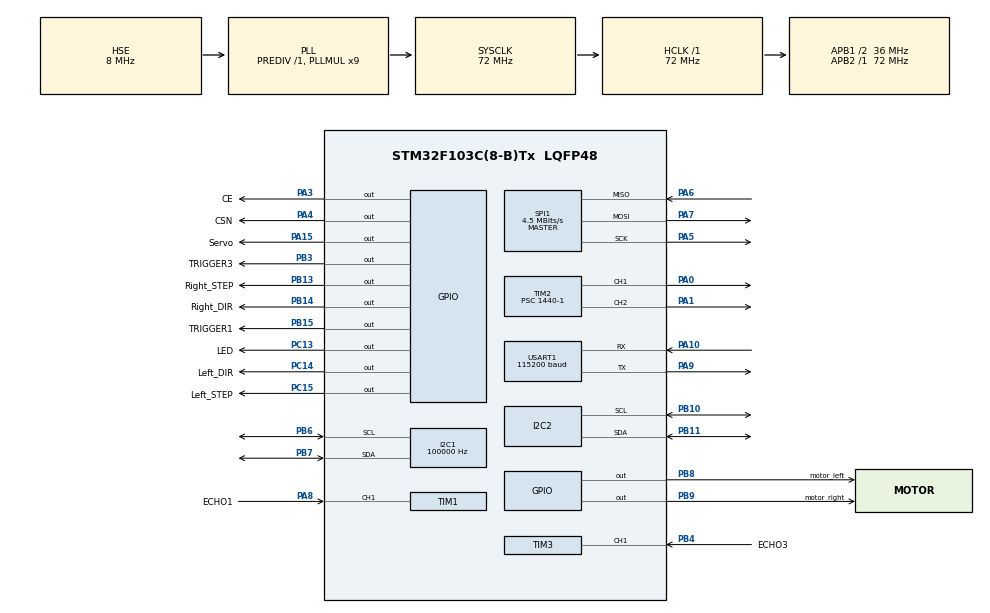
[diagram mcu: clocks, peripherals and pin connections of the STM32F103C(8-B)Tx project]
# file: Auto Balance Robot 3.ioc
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I2C1.ClockSpeed=100000
I2C1.DutyCycle=I2C_DUTYCYCLE_16_9
I2C1.I2C_Mode=I2C_Fast
I2C1.OwnAddress=0
Mcu.Family=STM32F1
Mcu.Name=STM32F103C(8-B)Tx
Mcu.Package=LQFP48
NVIC.I2C1_ER_IRQn=true\:0\:0\:false\:false\:true
NVIC.I2C1_EV_IRQn=true\:0\:0\:false\:false\:true
NVIC.PriorityGroup=NVIC_PRIORITYGROUP_4
NVIC.TIM1_CC_IRQn=true\:0\:0\:false\:false\:true
NVIC.TIM2_IRQn=true\:0\:0\:false\:false\:true
NVIC.TIM3_IRQn=true\:0\:0\:false\:false\:true
NVIC.TIM4_IRQn=true\:0\:0\:false\:false\:true
NVIC.USART1_IRQn=true\:0\:0\:false\:false\:true
PA0-WKUP.Signal=S_TIM2_CH1_ETR
PA1.Signal=S_TIM2_CH2
PA10.Mode=Asynchronous
PA10.Signal=USART1_RX
PA13.Mode=Serial_Wire
PA13.Signal=SYS_JTMS-SWDIO
PA14.Mode=Serial_Wire
PA14.Signal=SYS_JTCK-SWCLK
PA15.GPIO_Label=Servo
PA15.Signal=GPIO_Output
PA3.GPIO_Label=CE
PA3.Signal=GPIO_Output
PA4.GPIO_Label=CSN
PA4.Signal=GPIO_Output
PA5.Mode=Full_Duplex_Master
PA5.Signal=SPI1_SCK
PA6.Mode=Full_Duplex_Master
PA6.Signal=SPI1_MISO
PA7.Mode=Full_Duplex_Master
PA7.Signal=SPI1_MOSI
PA8.GPIO_Label=ECHO1
PA8.GPIO_PuPd=GPIO_PULLDOWN
PA8.Signal=S_TIM1_CH1
PA9.Mode=Asynchronous
PA9.Signal=USART1_TX
PB10.Mode=I2C
PB10.Signal=I2C2_SCL
PB11.Mode=I2C
PB11.Signal=I2C2_SDA
PB13.GPIO_Label=Right_STEP
PB13.Signal=GPIO_Output
PB14.GPIO_Label=Right_DIR
PB14.Signal=GPIO_Output
PB15.GPIO_Label=TRIGGER1
PB15.Signal=GPIO_Output
PB3.GPIO_Label=TRIGGER3
PB3.Signal=GPIO_Output
PB4.GPIO_Label=ECHO3
PB4.GPIO_PuPd=GPIO_PULLDOWN
PB4.Signal=S_TIM3_CH1
PB6.Mode=I2C
PB6.Signal=I2C1_SCL
PB7.Mode=I2C
PB7.Signal=I2C1_SDA
PB8.GPIO_Label=motor_left
PB8.Signal=GPIO_Output
PB9.GPIO_Label=motor_right
PB9.Signal=GPIO_Output
PC13-TAMPER-RTC.GPIO_Label=LED
PC13-TAMPER-RTC.Signal=GPIO_Output
PC14-OSC32_IN.GPIO_Label=Left_DIR
PC14-OSC32_IN.Signal=GPIO_Output
PC15-OSC32_OUT.GPIO_Label=Left_STEP
PC15-OSC32_OUT.Signal=GPIO_Output
PD0-OSC_IN.Mode=HSE-External-Oscillator
PD0-OSC_IN.Signal=RCC_OSC_IN
PD1-OSC_OUT.Mode=HSE-External-Oscillator
PD1-OSC_OUT.Signal=RCC_OSC_OUT
ProjectManager.HeapSize=0x200
ProjectManager.StackSize=0x400
ProjectManager.TargetToolchain=MDK-ARM V5
RCC.ADCPresc=RCC_ADCPCLK2_DIV6
RCC.AHBFreq_Value=72000000
RCC.APB1CLKDivider=RCC_HCLK_DIV2
RCC.APB1Freq_Value=36000000
RCC.APB1TimFreq_Value=72000000
RCC.APB2Freq_Value=72000000
RCC.APB2TimFreq_Value=72000000
RCC.HCLKFreq_Value=72000000
RCC.PLLMUL=RCC_PLL_MUL9
RCC.PLLSourceVirtual=RCC_PLLSOURCE_HSE
RCC.SYSCLKFreq_VALUE=72000000
RCC.SYSCLKSource=RCC_SYSCLKSOURCE_PLLCLK
RCC.USBFreq_Value=72000000
SH.S_TIM1_CH1.0=TIM1_CH1,Input_Capture1_from_TI1
SH.S_TIM2_CH1_ETR.0=TIM2_CH1,PWM Generation1 CH1
SH.S_TIM2_CH2.0=TIM2_CH2,PWM Generation2 CH2
SH.S_TIM3_CH1.0=TIM3_CH1,Input_Capture1_from_TI1
SPI1.BaudRatePrescaler=SPI_BAUDRATEPRESCALER_16
SPI1.CalculateBaudRate=4.5 MBits/s
SPI1.Direction=SPI_DIRECTION_2LINES
SPI1.Mode=SPI_MODE_MASTER
SPI1.VirtualType=VM_MASTER
TIM1.Channel-Input_Capture1_from_TI1=TIM_CHANNEL_1
TIM1.Period=65530
TIM1.Prescaler=72-1
TIM2.Channel-PWM\ Generation1\ CH1=TIM_CHANNEL_1
TIM2.Channel-PWM\ Generation2\ CH2=TIM_CHANNEL_2
TIM2.Period=1000-1
TIM2.Prescaler=1440-1
TIM3.AutoReloadPreload=TIM_AUTORELOAD_PRELOAD_DISABLE
TIM3.Channel-Input_Capture1_from_TI1=TIM_CHANNEL_1
TIM3.Period=65530
TIM3.Prescaler=72-1
TIM4.Period=720
TIM4.Prescaler=1
USART1.BaudRate=115200
USART1.VirtualMode=VM_ASYNC
VP_TIM1_VS_ClockSourceINT.Mode=Internal
VP_TIM2_VS_ClockSourceINT.Mode=Internal
VP_TIM3_VS_ClockSourceINT.Mode=Internal
VP_TIM4_VS_ClockSourceINT.Mode=Internal
board=Auto Balance Robot 3

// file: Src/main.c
/**
  ******************************************************************************
  * File Name          : main.c
  * Description        : Main program body
  ******************************************************************************
  ** This notice applies to any and all portions of this file
  * that are not between comment pairs USER CODE BEGIN and
  * USER CODE END. Other portions of this file, whether
  * inserted by the user or by software development tools
  * are owned by their respective copyright owners.
  *
  * COPYRIGHT(c) 2019 STMicroelectronics
  *
  * Redistribution and use in source and binary forms, with or without modification,
  * are permitted provided that the following conditions are met:
  *   1. Redistributions of source code must retain the above copyright notice,
  *      this list of conditions and the following disclaimer.
  *   2. Redistributions in binary form must reproduce the above copyright notice,
  *      this list of conditions and the following disclaimer in the documentation
  *      and/or other materials provided with the distribution.
  *   3. Neither the name of STMicroelectronics nor the names of its contributors
  *      may be used to endorse or promote products derived from this software
  *      without specific prior written permission.
  *
  * THIS SOFTWARE IS PROVIDED BY THE COPYRIGHT HOLDERS AND CONTRIBUTORS "AS IS"
  * AND ANY EXPRESS OR IMPLIED WARRANTIES, INCLUDING, BUT NOT LIMITED TO, THE
  * IMPLIED WARRANTIES OF MERCHANTABILITY AND FITNESS FOR A PARTICULAR PURPOSE ARE
  * DISCLAIMED. IN NO EVENT SHALL THE COPYRIGHT HOLDER OR CONTRIBUTORS BE LIABLE
  * FOR ANY DIRECT, INDIRECT, INCIDENTAL, SPECIAL, EXEMPLARY, OR CONSEQUENTIAL
  * DAMAGES (INCLUDING, BUT NOT LIMITED TO, PROCUREMENT OF SUBSTITUTE GOODS OR
  * SERVICES; LOSS OF USE, DATA, OR PROFITS; OR BUSINESS INTERRUPTION) HOWEVER
  * CAUSED AND ON ANY THEORY OF LIABILITY, WHETHER IN CONTRACT, STRICT LIABILITY,
  * OR TORT (INCLUDING NEGLIGENCE OR OTHERWISE) ARISING IN ANY WAY OUT OF THE USE
  * OF THIS SOFTWARE, EVEN IF ADVISED OF THE POSSIBILITY OF SUCH DAMAGE.
  *
  ******************************************************************************
  */
#include "main.h"
#include "stm32f1xx_hal.h"

/* USER CODE BEGIN Includes */
#include "math.h"
#include <stdbool.h>
#include "NRF24L01.h"
#include "MPU6050.h"
#include "HCSR04.h"
#include "PID_Motor_Control.h"
#include "Robot_Motion_Control.h"
/* USER CODE END Includes */

I2C_HandleTypeDef hi2c1;
I2C_HandleTypeDef hi2c2;

SPI_HandleTypeDef hspi1;

TIM_HandleTypeDef htim1;
TIM_HandleTypeDef htim2;
TIM_HandleTypeDef htim3;
TIM_HandleTypeDef htim4;

UART_HandleTypeDef huart1;

/* USER CODE BEGIN PV */
/* Private variables ---------------------------------------------------------*/
uint8_t received_byte, received_com_byte, low_bat, activation, UART_rx;
uint8_t balancing=false,standing=false,sleeping=false;

uint32_t micros = 0, loop_timer = 0, rising_tick_1, rising_tick_3, echo1_pulse_width, echo3_pulse_width;
volatile uint32_t millis = 0;

int16_t throttle_left_motor, throttle_counter_left_motor, throttle_left_motor_memory;
int16_t throttle_right_motor, throttle_counter_right_motor, throttle_right_motor_memory;
int16_t battery_voltage, receive_counter;

float pid_i_mem, pid_output, self_balance_pid_setpoint, adcValue, angle_gyro;
float sleep=0;
char webpage[100];
/* USER CODE END PV */

void SystemClock_Config(void);
static void MX_GPIO_Init(void);
static void MX_USART1_UART_Init(void);
static void MX_I2C1_Init(void);
static void MX_TIM3_Init(void);
static void MX_I2C2_Init(void);
static void MX_SPI1_Init(void);
static void MX_TIM2_Init(void);
static void MX_TIM1_Init(void);
static void MX_TIM4_Init(void);

void HAL_TIM_MspPostInit(TIM_HandleTypeDef *htim);

/* USER CODE BEGIN PFP */
/* Private function prototypes -----------------------------------------------*/
uint32_t micro(void);

/* USER CODE END PFP */

/* USER CODE BEGIN 0 */
void HAL_UART_RxCpltCallback(UART_HandleTypeDef *huart)
{
		if(huart->Instance == USART1)
		{
				if(UART_rx == 0x06)
				{
					HAL_UART_Transmit(&huart1,webpage,strlen(webpage),400);
				}
				if(standing == false && sleeping == false)
			  {
					if(UART_rx == 0x01 || UART_rx == 0x02 || UART_rx == 0x04 || UART_rx == 0x08 || UART_rx == 0x05)
					{
						received_com_byte = UART_rx;
					}
				}

				UART_rx = 0;
				HAL_UART_Receive_IT(&huart1, &UART_rx, 1);
		}
}

void HAL_TIM_PeriodElapsedCallback(TIM_HandleTypeDef *htim)
{
	 if (htim ->Instance == TIM4)
	 {
			HAL_GPIO_TogglePin(GPIOC, LED_Pin);
			//Left motor pulse calculations
			throttle_counter_left_motor ++;                                           //Increase the throttle_counter_left_motor variable by 1 every time this routine is executed
			if(throttle_counter_left_motor > throttle_left_motor_memory){             //If the number of loops is larger then the throttle_left_motor_memory variable
				throttle_counter_left_motor = 0;                                        //Reset the throttle_counter_left_motor variable
				throttle_left_motor_memory = throttle_left_motor;
				//Load the next throttle_left_motor variable
				if(throttle_left_motor_memory < 0){                                     //If the throttle_left_motor_memory is negative
					HAL_GPIO_WritePin(GPIOC, Left_DIR_Pin, GPIO_PIN_RESET);               //Set output 3 low to reverse the direction of the stepper controller
					throttle_left_motor_memory *= -1;                                     //Invert the throttle_left_motor_memory variable
				}
				else HAL_GPIO_WritePin(GPIOC, Left_DIR_Pin, GPIO_PIN_SET);              //Set output 3 high for a forward direction of the stepper motor
			}
			else if(throttle_counter_left_motor == 1)HAL_GPIO_WritePin(GPIOC, Left_STEP_Pin, GPIO_PIN_SET);             //Set output 2 high to create a pulse for the stepper controller
			else if(throttle_counter_left_motor == 2)HAL_GPIO_WritePin(GPIOC, Left_STEP_Pin, GPIO_PIN_RESET);           //Set output 2 low because the pulse only has to last for 20us

			//right motor pulse calculations
			throttle_counter_right_motor ++;                                          //Increase the throttle_counter_right_motor variable by 1 every time the routine is executed
			if(throttle_counter_right_motor > throttle_right_motor_memory){           //If the number of loops is larger then the throttle_right_motor_memory variable
				throttle_counter_right_motor = 0;                                       //Reset the throttle_counter_right_motor variable
				throttle_right_motor_memory = throttle_right_motor;                     //Load the next throttle_right_motor variable

				if(throttle_right_motor_memory < 0){                                    //If the throttle_right_motor_memory is negative
					HAL_GPIO_WritePin(GPIOB, Right_DIR_Pin, GPIO_PIN_RESET);              //Set output 5 low to reverse the direction of the stepper controller
					throttle_right_motor_memory *= -1;                                    //Invert the throttle_right_motor_memory variable
				}
				else HAL_GPIO_WritePin(GPIOB, Right_DIR_Pin, GPIO_PIN_SET);           	//Set output 5 high for a forward direction of the stepper motor
			}
			else if(throttle_counter_right_motor == 1)HAL_GPIO_WritePin(GPIOB, Right_STEP_Pin, GPIO_PIN_SET);            //Set output 4 high to create a pulse for the stepper controller
			else if(throttle_counter_right_motor == 2)HAL_GPIO_WritePin(GPIOB, Right_STEP_Pin, GPIO_PIN_RESET);          //Set output 4 low because the pulse only has to last for 20us
	 }
}
/* USER CODE END 0 */

int main(void)
{

  /* MCU Configuration----------------------------------------------------------*/

  /* Reset of all peripherals, Initializes the Flash interface and the Systick. */
  HAL_Init();

  /* Configure the system clock */
  SystemClock_Config();

  /* Initialize all configured peripherals */
  MX_GPIO_Init();
  MX_USART1_UART_Init();
  MX_I2C1_Init();
  MX_TIM3_Init();
  MX_I2C2_Init();
  MX_SPI1_Init();
  MX_TIM2_Init();
  MX_TIM1_Init();
  MX_TIM4_Init();

  /* USER CODE BEGIN 2 */

	HAL_TIM_IC_Start_IT(&htim1,TIM_CHANNEL_1); // Start timer 1 (Input capture for ultrasonic sensor)
	HAL_TIM_PWM_Start(&htim2,TIM_CHANNEL_1);	 // Start timer 2 (PWM for servo motor 1)
	HAL_TIM_PWM_Start(&htim2,TIM_CHANNEL_2);	 // Start timer 2 (PWM for servo motor 2)
	HAL_TIM_IC_Start_IT(&htim3,TIM_CHANNEL_1); // Start timer 3 (Input capture for ultrasonic sensor)
	HAL_TIM_Base_Start_IT(&htim4);						 // Start timer 4 (Control stepper motors every 20us)
	HAL_UART_Receive_IT(&huart1, &UART_rx, 1); // Start UART (Communicate with ESP8266)

	htim2.Instance->CCR1 = 25;								 // Turn servo motor 1 to default position
	htim2.Instance->CCR2 = 25;								 // Turn servo motor 2 to default position
	HAL_Delay(200);														 // Wait some time for servo motor to return to default position
	htim2.Instance->CCR1 = 0;									 // Stop holding servo motor 1
	htim2.Instance->CCR2 = 0;									 // Stop holding servo motor 2

	NRF24_init();															 // Setup NRF24L01 configuration register

	MPU6050_config();													 // Setup MPU6050 configuration registers
	MPU6050_pitch_calibration();							 // Calirate MPU6050 pitch axis
	MPU6050_detect_initial_angle();						 // Detect initial angle of MPU6050

	millis = 0;
	loop_timer = micro();											 // Start loop time. Loop time = 4ms

  /* USER CODE END 2 */

  /* Infinite loop */
  while(1)
  {

  /* USER CODE BEGIN 3 */
			// Copy robot status (balancing, standing, sleeping) into webpage char array in order to send to ESP8266
			sprintf(webpage, "{ \"balancing\" : %d, \"standing\" : %d, \"sleeping\" : %d }\n", balancing, standing, sleeping);

			// Check received byte from remote control and computer to determine whether robot should be raised up or lowered down
			Raise_Or_Lower_Down_Robot();

			// Calculate angle of MPU6050
			MPU6050_calculate_angle_gyro();

			// Raises up or lowers down the robot according to received byte
			Change_Robot_Position();

			// If robot enters vertical (upright) position, enable balancing mode
			Check_If_Robot_Enters_Vertical_Position();

			// Rotate servo arm to vertical position once robot enters vertical position
			Rotate_Servo_Arm_To_Vertical_Position();

			// If robot tips over, deactivate balancing mode and reset parameters
			Check_If_Robot_Tips_Over();

			// If balancing mode is activated, activate PID controller calculations, control movement of robot, calculate pulses to control stepper motor
			Check_If_Balancing_Mode_Activated();

			received_com_byte = 0;							 // Reset received byte from computer every loop

			while((micro()- loop_timer) < 4000); // Make sure the loop is in 250Hz or 4ms.
			millis = 0; 												 // Reset millis
			loop_timer = micro();								 // Restart loop timer
		}

  /* USER CODE END 3 */

}

/** System Clock Configuration
*/
void SystemClock_Config(void)
{

  RCC_OscInitTypeDef RCC_OscInitStruct;
  RCC_ClkInitTypeDef RCC_ClkInitStruct;

    /**Initializes the CPU, AHB and APB busses clocks
    */
  RCC_OscInitStruct.OscillatorType = RCC_OSCILLATORTYPE_HSE;
  RCC_OscInitStruct.HSEState = RCC_HSE_ON;
  RCC_OscInitStruct.HSEPredivValue = RCC_HSE_PREDIV_DIV1;
  RCC_OscInitStruct.HSIState = RCC_HSI_ON;
  RCC_OscInitStruct.PLL.PLLState = RCC_PLL_ON;
  RCC_OscInitStruct.PLL.PLLSource = RCC_PLLSOURCE_HSE;
  RCC_OscInitStruct.PLL.PLLMUL = RCC_PLL_MUL9;
  if (HAL_RCC_OscConfig(&RCC_OscInitStruct) != HAL_OK)
  {
    _Error_Handler(__FILE__, __LINE__);
  }

    /**Initializes the CPU, AHB and APB busses clocks
    */
  RCC_ClkInitStruct.ClockType = RCC_CLOCKTYPE_HCLK|RCC_CLOCKTYPE_SYSCLK
                              |RCC_CLOCKTYPE_PCLK1|RCC_CLOCKTYPE_PCLK2;
  RCC_ClkInitStruct.SYSCLKSource = RCC_SYSCLKSOURCE_PLLCLK;
  RCC_ClkInitStruct.AHBCLKDivider = RCC_SYSCLK_DIV1;
  RCC_ClkInitStruct.APB1CLKDivider = RCC_HCLK_DIV2;
  RCC_ClkInitStruct.APB2CLKDivider = RCC_HCLK_DIV1;

  if (HAL_RCC_ClockConfig(&RCC_ClkInitStruct, FLASH_LATENCY_2) != HAL_OK)
  {
    _Error_Handler(__FILE__, __LINE__);
  }

    /**Configure the Systick interrupt time
    */
  HAL_SYSTICK_Config(HAL_RCC_GetHCLKFreq()/1000);

    /**Configure the Systick
    */
  HAL_SYSTICK_CLKSourceConfig(SYSTICK_CLKSOURCE_HCLK);

  /* SysTick_IRQn interrupt configuration */
  HAL_NVIC_SetPriority(SysTick_IRQn, 0, 0);
}

/* I2C1 init function */
static void MX_I2C1_Init(void)
{

  hi2c1.Instance = I2C1;
  hi2c1.Init.ClockSpeed = 100000;
  hi2c1.Init.DutyCycle = I2C_DUTYCYCLE_16_9;
  hi2c1.Init.OwnAddress1 = 0;
  hi2c1.Init.AddressingMode = I2C_ADDRESSINGMODE_7BIT;
  hi2c1.Init.DualAddressMode = I2C_DUALADDRESS_DISABLE;
  hi2c1.Init.OwnAddress2 = 0;
  hi2c1.Init.GeneralCallMode = I2C_GENERALCALL_DISABLE;
  hi2c1.Init.NoStretchMode = I2C_NOSTRETCH_DISABLE;
  if (HAL_I2C_Init(&hi2c1) != HAL_OK)
  {
    _Error_Handler(__FILE__, __LINE__);
  }

}

/* I2C2 init function */
static void MX_I2C2_Init(void)
{

  hi2c2.Instance = I2C2;
  hi2c2.Init.ClockSpeed = 100000;
  hi2c2.Init.DutyCycle = I2C_DUTYCYCLE_2;
  hi2c2.Init.OwnAddress1 = 0;
  hi2c2.Init.AddressingMode = I2C_ADDRESSINGMODE_7BIT;
  hi2c2.Init.DualAddressMode = I2C_DUALADDRESS_DISABLE;
  hi2c2.Init.OwnAddress2 = 0;
  hi2c2.Init.GeneralCallMode = I2C_GENERALCALL_DISABLE;
  hi2c2.Init.NoStretchMode = I2C_NOSTRETCH_DISABLE;
  if (HAL_I2C_Init(&hi2c2) != HAL_OK)
  {
    _Error_Handler(__FILE__, __LINE__);
  }

}

/* SPI1 init function */
static void MX_SPI1_Init(void)
{

  hspi1.Instance = SPI1;
  hspi1.Init.Mode = SPI_MODE_MASTER;
  hspi1.Init.Direction = SPI_DIRECTION_2LINES;
  hspi1.Init.DataSize = SPI_DATASIZE_8BIT;
  hspi1.Init.CLKPolarity = SPI_POLARITY_LOW;
  hspi1.Init.CLKPhase = SPI_PHASE_1EDGE;
  hspi1.Init.NSS = SPI_NSS_SOFT;
  hspi1.Init.BaudRatePrescaler = SPI_BAUDRATEPRESCALER_16;
  hspi1.Init.FirstBit = SPI_FIRSTBIT_MSB;
  hspi1.Init.TIMode = SPI_TIMODE_DISABLE;
  hspi1.Init.CRCCalculation = SPI_CRCCALCULATION_DISABLE;
  hspi1.Init.CRCPolynomial = 10;
  if (HAL_SPI_Init(&hspi1) != HAL_OK)
  {
    _Error_Handler(__FILE__, __LINE__);
  }

}

/* TIM1 init function */
static void MX_TIM1_Init(void)
{

  TIM_ClockConfigTypeDef sClockSourceConfig;
  TIM_MasterConfigTypeDef sMasterConfig;
  TIM_IC_InitTypeDef sConfigIC;

  htim1.Instance = TIM1;
  htim1.Init.Prescaler = 72-1;
  htim1.Init.CounterMode = TIM_COUNTERMODE_UP;
  htim1.Init.Period = 65530;
  htim1.Init.ClockDivision = TIM_CLOCKDIVISION_DIV1;
  htim1.Init.RepetitionCounter = 0;
  htim1.Init.AutoReloadPreload = TIM_AUTORELOAD_PRELOAD_DISABLE;
  if (HAL_TIM_Base_Init(&htim1) != HAL_OK)
  {
    _Error_Handler(__FILE__, __LINE__);
  }

  sClockSourceConfig.ClockSource = TIM_CLOCKSOURCE_INTERNAL;
  if (HAL_TIM_ConfigClockSource(&htim1, &sClockSourceConfig) != HAL_OK)
  {
    _Error_Handler(__FILE__, __LINE__);
  }

  if (HAL_TIM_IC_Init(&htim1) != HAL_OK)
  {
    _Error_Handler(__FILE__, __LINE__);
  }

  sMasterConfig.MasterOutputTrigger = TIM_TRGO_RESET;
  sMasterConfig.MasterSlaveMode = TIM_MASTERSLAVEMODE_DISABLE;
  if (HAL_TIMEx_MasterConfigSynchronization(&htim1, &sMasterConfig) != HAL_OK)
  {
    _Error_Handler(__FILE__, __LINE__);
  }

  sConfigIC.ICPolarity = TIM_INPUTCHANNELPOLARITY_RISING;
  sConfigIC.ICSelection = TIM_ICSELECTION_DIRECTTI;
  sConfigIC.ICPrescaler = TIM_ICPSC_DIV1;
  sConfigIC.ICFilter = 0;
  if (HAL_TIM_IC_ConfigChannel(&htim1, &sConfigIC, TIM_CHANNEL_1) != HAL_OK)
  {
    _Error_Handler(__FILE__, __LINE__);
  }

}

/* TIM2 init function */
static void MX_TIM2_Init(void)
{

  TIM_ClockConfigTypeDef sClockSourceConfig;
  TIM_MasterConfigTypeDef sMasterConfig;
  TIM_OC_InitTypeDef sConfigOC;

  htim2.Instance = TIM2;
  htim2.Init.Prescaler = 1440-1;
  htim2.Init.CounterMode = TIM_COUNTERMODE_UP;
  htim2.Init.Period = 1000-1;
  htim2.Init.ClockDivision = TIM_CLOCKDIVISION_DIV1;
  htim2.Init.AutoReloadPreload = TIM_AUTORELOAD_PRELOAD_DISABLE;
  if (HAL_TIM_Base_Init(&htim2) != HAL_OK)
  {
    _Error_Handler(__FILE__, __LINE__);
  }

  sClockSourceConfig.ClockSource = TIM_CLOCKSOURCE_INTERNAL;
  if (HAL_TIM_ConfigClockSource(&htim2, &sClockSourceConfig) != HAL_OK)
  {
    _Error_Handler(__FILE__, __LINE__);
  }

  if (HAL_TIM_PWM_Init(&htim2) != HAL_OK)
  {
    _Error_Handler(__FILE__, __LINE__);
  }

  sMasterConfig.MasterOutputTrigger = TIM_TRGO_RESET;
  sMasterConfig.MasterSlaveMode = TIM_MASTERSLAVEMODE_DISABLE;
  if (HAL_TIMEx_MasterConfigSynchronization(&htim2, &sMasterConfig) != HAL_OK)
  {
    _Error_Handler(__FILE__, __LINE__);
  }

  sConfigOC.OCMode = TIM_OCMODE_PWM1;
  sConfigOC.Pulse = 0;
  sConfigOC.OCPolarity = TIM_OCPOLARITY_HIGH;
  sConfigOC.OCFastMode = TIM_OCFAST_DISABLE;
  if (HAL_TIM_PWM_ConfigChannel(&htim2, &sConfigOC, TIM_CHANNEL_1) != HAL_OK)
  {
    _Error_Handler(__FILE__, __LINE__);
  }

  if (HAL_TIM_PWM_ConfigChannel(&htim2, &sConfigOC, TIM_CHANNEL_2) != HAL_OK)
  {
    _Error_Handler(__FILE__, __LINE__);
  }

  HAL_TIM_MspPostInit(&htim2);

}

/* TIM3 init function */
static void MX_TIM3_Init(void)
{

  TIM_ClockConfigTypeDef sClockSourceConfig;
  TIM_MasterConfigTypeDef sMasterConfig;
  TIM_IC_InitTypeDef sConfigIC;

  htim3.Instance = TIM3;
  htim3.Init.Prescaler = 72-1;
  htim3.Init.CounterMode = TIM_COUNTERMODE_UP;
  htim3.Init.Period = 65530;
  htim3.Init.ClockDivision = TIM_CLOCKDIVISION_DIV1;
  htim3.Init.AutoReloadPreload = TIM_AUTORELOAD_PRELOAD_DISABLE;
  if (HAL_TIM_Base_Init(&htim3) != HAL_OK)
  {
    _Error_Handler(__FILE__, __LINE__);
  }

  sClockSourceConfig.ClockSource = TIM_CLOCKSOURCE_INTERNAL;
  if (HAL_TIM_ConfigClockSource(&htim3, &sClockSourceConfig) != HAL_OK)
  {
    _Error_Handler(__FILE__, __LINE__);
  }

  if (HAL_TIM_IC_Init(&htim3) != HAL_OK)
  {
    _Error_Handler(__FILE__, __LINE__);
  }

  sMasterConfig.MasterOutputTrigger = TIM_TRGO_RESET;
  sMasterConfig.MasterSlaveMode = TIM_MASTERSLAVEMODE_DISABLE;
  if (HAL_TIMEx_MasterConfigSynchronization(&htim3, &sMasterConfig) != HAL_OK)
  {
    _Error_Handler(__FILE__, __LINE__);
  }

  sConfigIC.ICPolarity = TIM_INPUTCHANNELPOLARITY_RISING;
  sConfigIC.ICSelection = TIM_ICSELECTION_DIRECTTI;
  sConfigIC.ICPrescaler = TIM_ICPSC_DIV1;
  sConfigIC.ICFilter = 0;
  if (HAL_TIM_IC_ConfigChannel(&htim3, &sConfigIC, TIM_CHANNEL_1) != HAL_OK)
  {
    _Error_Handler(__FILE__, __LINE__);
  }

}

/* TIM4 init function */
static void MX_TIM4_Init(void)
{

  TIM_ClockConfigTypeDef sClockSourceConfig;
  TIM_MasterConfigTypeDef sMasterConfig;

  htim4.Instance = TIM4;
  htim4.Init.Prescaler = 1;
  htim4.Init.CounterMode = TIM_COUNTERMODE_UP;
  htim4.Init.Period = 720;
  htim4.Init.ClockDivision = TIM_CLOCKDIVISION_DIV1;
  htim4.Init.AutoReloadPreload = TIM_AUTORELOAD_PRELOAD_DISABLE;
  if (HAL_TIM_Base_Init(&htim4) != HAL_OK)
  {
    _Error_Handler(__FILE__, __LINE__);
  }

  sClockSourceConfig.ClockSource = TIM_CLOCKSOURCE_INTERNAL;
  if (HAL_TIM_ConfigClockSource(&htim4, &sClockSourceConfig) != HAL_OK)
  {
    _Error_Handler(__FILE__, __LINE__);
  }

  sMasterConfig.MasterOutputTrigger = TIM_TRGO_RESET;
  sMasterConfig.MasterSlaveMode = TIM_MASTERSLAVEMODE_DISABLE;
  if (HAL_TIMEx_MasterConfigSynchronization(&htim4, &sMasterConfig) != HAL_OK)
  {
    _Error_Handler(__FILE__, __LINE__);
  }

}

/* USART1 init function */
static void MX_USART1_UART_Init(void)
{

  huart1.Instance = USART1;
  huart1.Init.BaudRate = 115200;
  huart1.Init.WordLength = UART_WORDLENGTH_8B;
  huart1.Init.StopBits = UART_STOPBITS_1;
  huart1.Init.Parity = UART_PARITY_NONE;
  huart1.Init.Mode = UART_MODE_TX_RX;
  huart1.Init.HwFlowCtl = UART_HWCONTROL_NONE;
  huart1.Init.OverSampling = UART_OVERSAMPLING_16;
  if (HAL_UART_Init(&huart1) != HAL_OK)
  {
    _Error_Handler(__FILE__, __LINE__);
  }

}

/** Configure pins as
        * Analog
        * Input
        * Output
        * EVENT_OUT
        * EXTI
*/
static void MX_GPIO_Init(void)
{

  GPIO_InitTypeDef GPIO_InitStruct;

  /* GPIO Ports Clock Enable */
  __HAL_RCC_GPIOC_CLK_ENABLE();
  __HAL_RCC_GPIOD_CLK_ENABLE();
  __HAL_RCC_GPIOA_CLK_ENABLE();
  __HAL_RCC_GPIOB_CLK_ENABLE();

  /*Configure GPIO pin Output Level */
  HAL_GPIO_WritePin(GPIOC, LED_Pin|Left_DIR_Pin|Left_STEP_Pin, GPIO_PIN_RESET);

  /*Configure GPIO pin Output Level */
  HAL_GPIO_WritePin(GPIOA, CE_Pin|CSN_Pin|Servo_Pin, GPIO_PIN_RESET);

  /*Configure GPIO pin Output Level */
  HAL_GPIO_WritePin(GPIOB, Right_STEP_Pin|Right_DIR_Pin|TRIGGER1_Pin|TRIGGER3_Pin
                          |motor_left_Pin|motor_right_Pin, GPIO_PIN_RESET);

  /*Configure GPIO pins : LED_Pin Left_DIR_Pin Left_STEP_Pin */
  GPIO_InitStruct.Pin = LED_Pin|Left_DIR_Pin|Left_STEP_Pin;
  GPIO_InitStruct.Mode = GPIO_MODE_OUTPUT_PP;
  GPIO_InitStruct.Speed = GPIO_SPEED_FREQ_LOW;
  HAL_GPIO_Init(GPIOC, &GPIO_InitStruct);

  /*Configure GPIO pins : CE_Pin CSN_Pin Servo_Pin */
  GPIO_InitStruct.Pin = CE_Pin|CSN_Pin|Servo_Pin;
  GPIO_InitStruct.Mode = GPIO_MODE_OUTPUT_PP;
  GPIO_InitStruct.Speed = GPIO_SPEED_FREQ_LOW;
  HAL_GPIO_Init(GPIOA, &GPIO_InitStruct);

  /*Configure GPIO pins : Right_STEP_Pin Right_DIR_Pin TRIGGER1_Pin TRIGGER3_Pin
                           motor_left_Pin motor_right_Pin */
  GPIO_InitStruct.Pin = Right_STEP_Pin|Right_DIR_Pin|TRIGGER1_Pin|TRIGGER3_Pin
                          |motor_left_Pin|motor_right_Pin;
  GPIO_InitStruct.Mode = GPIO_MODE_OUTPUT_PP;
  GPIO_InitStruct.Speed = GPIO_SPEED_FREQ_LOW;
  HAL_GPIO_Init(GPIOB, &GPIO_InitStruct);

}

/* USER CODE BEGIN 4 */
void HAL_TIM_IC_CaptureCallback(TIM_HandleTypeDef *htim)
{
  /* Prevent unused argument(s) compilation warning */
  UNUSED(htim);
  /* NOTE : This function Should not be modified, when the callback is needed,
            the __HAL_TIM_IC_CaptureCallback could be implemented in the user file
   */
	if(htim ->Instance == TIM1)
	{
		TIM_IC_InitTypeDef sConfigIC;

		if(HAL_GPIO_ReadPin(GPIOA,ECHO1_Pin) == 1)
		{
				__HAL_TIM_SET_COUNTER(htim,0);
				rising_tick_1 = __HAL_TIM_GET_COUNTER(htim);
				sConfigIC.ICPolarity = TIM_INPUTCHANNELPOLARITY_FALLING;
				sConfigIC.ICSelection = TIM_ICSELECTION_DIRECTTI;
				sConfigIC.ICPrescaler = TIM_ICPSC_DIV1;
				sConfigIC.ICFilter = 0;
				HAL_TIM_IC_ConfigChannel(&htim1, &sConfigIC, TIM_CHANNEL_1);
				HAL_TIM_IC_Start_IT(&htim1,TIM_CHANNEL_1);
		}
		else if(HAL_GPIO_ReadPin(GPIOA,ECHO1_Pin) == 0)
		{
				echo1_pulse_width = __HAL_TIM_GET_COUNTER(htim) - rising_tick_1;

				sConfigIC.ICPolarity = TIM_INPUTCHANNELPOLARITY_RISING;
				sConfigIC.ICSelection = TIM_ICSELECTION_DIRECTTI;
				sConfigIC.ICPrescaler = TIM_ICPSC_DIV1;
				sConfigIC.ICFilter = 0;
				HAL_TIM_IC_ConfigChannel(&htim1, &sConfigIC, TIM_CHANNEL_1);
				HAL_TIM_IC_Start_IT(&htim1,TIM_CHANNEL_1);

				__HAL_TIM_SET_COUNTER(htim,0);
		}
	}
	else if(htim ->Instance == TIM3)
	{
		TIM_IC_InitTypeDef sConfigIC;

		if(HAL_GPIO_ReadPin(GPIOB,ECHO3_Pin) == 1)
		{
				__HAL_TIM_SET_COUNTER(htim,0);
				rising_tick_3 = __HAL_TIM_GET_COUNTER(htim);
				sConfigIC.ICPolarity = TIM_INPUTCHANNELPOLARITY_FALLING;
				sConfigIC.ICSelection = TIM_ICSELECTION_DIRECTTI;
				sConfigIC.ICPrescaler = TIM_ICPSC_DIV1;
				sConfigIC.ICFilter = 0;
				HAL_TIM_IC_ConfigChannel(&htim3, &sConfigIC, TIM_CHANNEL_1);
				HAL_TIM_IC_Start_IT(&htim3,TIM_CHANNEL_1);
		}
		else if(HAL_GPIO_ReadPin(GPIOB,ECHO3_Pin) == 0)
		{
				echo3_pulse_width = __HAL_TIM_GET_COUNTER(htim) - rising_tick_3;

				sConfigIC.ICPolarity = TIM_INPUTCHANNELPOLARITY_RISING;
				sConfigIC.ICSelection = TIM_ICSELECTION_DIRECTTI;
				sConfigIC.ICPrescaler = TIM_ICPSC_DIV1;
				sConfigIC.ICFilter = 0;
				HAL_TIM_IC_ConfigChannel(&htim3, &sConfigIC, TIM_CHANNEL_1);
				HAL_TIM_IC_Start_IT(&htim3,TIM_CHANNEL_1);

				__HAL_TIM_SET_COUNTER(htim,0);
		}
	}
}

uint32_t micro()
{
	micros =  millis*1000 + 1000 - SysTick->VAL/72;
	return micros;
}

void SysTick_Handler(void)
{
  /* USER CODE BEGIN SysTick_IRQn 0 */
	millis++;
  /* USER CODE END SysTick_IRQn 0 */
  HAL_IncTick();
  HAL_SYSTICK_IRQHandler();
  /* USER CODE BEGIN SysTick_IRQn 1 */

  /* USER CODE END SysTick_IRQn 1 */
}
/* USER CODE END 4 */

void _Error_Handler(char * file, int line)
{
  while(1)
  {
  }
}

/************************ (C) COPYRIGHT STMicroelectronics *****END OF FILE****/
